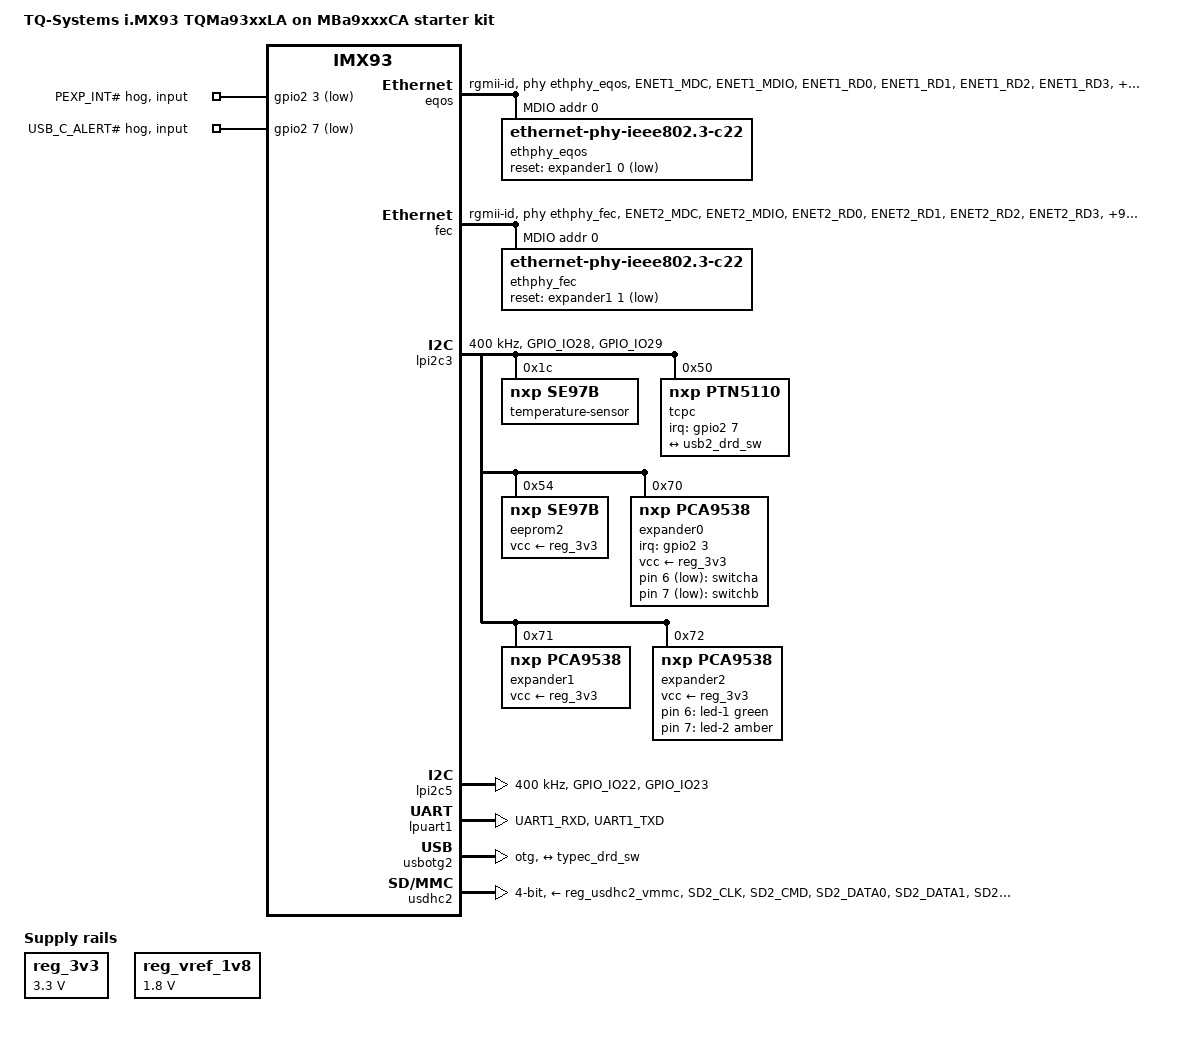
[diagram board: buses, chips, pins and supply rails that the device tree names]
// SPDX-License-Identifier: (GPL-2.0-or-later OR MIT)
/*
 * Copyright (c) 2022 TQ-Systems GmbH <linux@ew.tq-group.com>,
 * D-82229 Seefeld, Germany.
 * Author: Markus Niebel
 */
/dts-v1/;

#include "imx93-tqma93xxla.dtsi"
#include <dt-bindings/input/input.h>
#include <dt-bindings/leds/common.h>
#include <dt-bindings/net/ti-dp83867.h>
#include <dt-bindings/usb/pd.h>

/{
	model = "TQ-Systems i.MX93 TQMa93xxLA on MBa9xxxCA starter kit";
	compatible = "tq,imx93-tqma9352la-mba9xxxca", "tq,imx93-tqma93xxla", "fsl,imx93";

	chosen {
		stdout-path = &lpuart1;
	};

	aliases {
		eeprom0 = &eeprom0;
		rtc0 = &pcf85063;
		rtc1 = &bbnsm_rtc;
	};

	gpio-keys {
		compatible = "gpio-keys";
		autorepeat;

		switch-a {
			label = "switcha";
			linux,code = <BTN_0>;
			gpios = <&expander0 6 GPIO_ACTIVE_LOW>;
			wakeup-source;
		};

		switch-b {
			label = "switchb";
			linux,code = <BTN_1>;
			gpios = <&expander0 7 GPIO_ACTIVE_LOW>;
			wakeup-source;
		};
	};

	gpio-leds {
		compatible = "gpio-leds";

		led-1 {
			color = <LED_COLOR_ID_GREEN>;
			function = LED_FUNCTION_STATUS;
			gpios = <&expander2 6 GPIO_ACTIVE_HIGH>;
			linux,default-trigger = "default-on";
		};

		led-2 {
			color = <LED_COLOR_ID_AMBER>;
			function = LED_FUNCTION_HEARTBEAT;
			gpios = <&expander2 7 GPIO_ACTIVE_HIGH>;
			linux,default-trigger = "heartbeat";
		};
	};

	reg_3v3: regulator-3v3 {
		compatible = "regulator-fixed";
		regulator-name = "V_3V3";
		regulator-min-microvolt = <3300000>;
		regulator-max-microvolt = <3300000>;
	};

	reg_vref_1v8: regulator-adc-vref {
		compatible = "regulator-fixed";
		regulator-name = "vref_1v8";
		regulator-min-microvolt = <1800000>;
		regulator-max-microvolt = <1800000>;
	};
};

&eqos {
	pinctrl-names = "default";
	pinctrl-0 = <&pinctrl_eqos>, <&pinctrl_eqos_phy>;
	phy-mode = "rgmii-id";
	phy-handle = <&ethphy_eqos>;
	status = "okay";

	mdio {
		compatible = "snps,dwmac-mdio";
		#address-cells = <1>;
		#size-cells = <0>;

		ethphy_eqos: ethernet-phy@0 {
			compatible = "ethernet-phy-ieee802.3-c22";
			reg = <0>;
			reset-gpios = <&expander1 0 GPIO_ACTIVE_LOW>;
			reset-assert-us = <500000>;
			reset-deassert-us = <50000>;
			ti,rx-internal-delay = <DP83867_RGMIIDCTL_2_25_NS>;
			ti,tx-internal-delay = <DP83867_RGMIIDCTL_2_25_NS>;
			ti,fifo-depth = <DP83867_PHYCR_FIFO_DEPTH_4_B_NIB>;
			ti,dp83867-rxctrl-strap-quirk;
			ti,clk-output-sel = <DP83867_CLK_O_SEL_OFF>;
			enet-phy-lane-no-swap;
			/* LED0: Link, LED2: activity */
			ti,led-function = <0x0100>;
			/* LED0/2: active High, driven by phy function */
			ti,led-ctrl = <0x1414>;
		};
	};
};

&fec {
	pinctrl-names = "default";
	pinctrl-0 = <&pinctrl_fec>, <&pinctrl_fec_phy>;
	phy-mode = "rgmii-id";
	phy-handle = <&ethphy_fec>;
	fsl,magic-packet;
	status = "okay";

	mdio {
		#address-cells = <1>;
		#size-cells = <0>;
		clock-frequency = <5000000>;

		ethphy_fec: ethernet-phy@0 {
			compatible = "ethernet-phy-ieee802.3-c22";
			reg = <0>;
			reset-gpios = <&expander1 1 GPIO_ACTIVE_LOW>;
			reset-assert-us = <500000>;
			reset-deassert-us = <50000>;
			ti,rx-internal-delay = <DP83867_RGMIIDCTL_2_25_NS>;
			ti,tx-internal-delay = <DP83867_RGMIIDCTL_2_25_NS>;
			ti,fifo-depth = <DP83867_PHYCR_FIFO_DEPTH_4_B_NIB>;
			ti,dp83867-rxctrl-strap-quirk;
			ti,clk-output-sel = <DP83867_CLK_O_SEL_OFF>;
			enet-phy-lane-no-swap;
			/* LED0: Link, LED2: activity */
			ti,led-function = <0x0100>;
			/* LED0/2: active High, driven by phy function */
			ti,led-ctrl = <0x1414>;
		};
	};
};

&gpio2 {
	expander-irq-hog {
		gpio-hog;
		gpios = <3 GPIO_ACTIVE_LOW>;
		input;
		line-name = "PEXP_INT#";
	};

	tcpc-irq-hog {
		gpio-hog;
		gpios = <7 GPIO_ACTIVE_LOW>;
		input;
		line-name = "USB_C_ALERT#";
	};
};

&lpi2c3 {
	#address-cells = <1>;
	#size-cells = <0>;
	clock-frequency = <400000>;
	pinctrl-names = "default", "sleep";
	pinctrl-0 = <&pinctrl_lpi2c3>;
	pinctrl-1 = <&pinctrl_lpi2c3>;
	status = "okay";

	/* NXP SE97BTP with temperature sensor + eeprom */
	temperature-sensor@1c {
		compatible = "nxp,se97b", "jedec,jc-42.4-temp";
		reg = <0x1c>;
	};

	tcpc: ptn5110@50 {
		compatible = "nxp,ptn5110";
		pinctrl-names = "default";
		pinctrl-0 = <&pinctrl_typec>;
		reg = <0x50>;
		interrupt-parent = <&gpio2>;
		interrupts = <7 IRQ_TYPE_EDGE_FALLING>;
		status = "okay";

		port {
			typec_drd_sw: endpoint {
				remote-endpoint = <&usb2_drd_sw>;
			};
		};

		connector {
			compatible = "usb-c-connector";
			label = "USB-C";
			power-role = "dual";
			data-role = "dual";
			try-power-role = "sink";
			source-pdos = <PDO_FIXED(5000, 3000, PDO_FIXED_USB_COMM)>;
			sink-pdos = <PDO_FIXED(5000, 3000, PDO_FIXED_USB_COMM)
				     PDO_VAR(5000, 20000, 3000)>;
			op-sink-microwatt = <15000000>;
			self-powered;
		};
	};

	eeprom2: eeprom@54 {
		compatible = "nxp,se97b", "atmel,24c02";
		reg = <0x54>;
		pagesize = <16>;
		vcc-supply = <&reg_3v3>;
	};

	expander0: gpio@70 {
		compatible = "nxp,pca9538";
		reg = <0x70>;
		pinctrl-names = "default";
		pinctrl-0 = <&pinctrl_pexp_irq>;
		gpio-controller;
		#gpio-cells = <2>;
		interrupt-controller;
		#interrupt-cells = <2>;
		interrupt-parent = <&gpio2>;
		interrupts = <3 IRQ_TYPE_LEVEL_LOW>;
		vcc-supply = <&reg_3v3>;
	};

	expander1: gpio@71 {
		compatible = "nxp,pca9538";
		reg = <0x71>;
		gpio-controller;
		#gpio-cells = <2>;
		vcc-supply = <&reg_3v3>;
	};

	expander2: gpio@72 {
		compatible = "nxp,pca9538";
		reg = <0x72>;
		gpio-controller;
		#gpio-cells = <2>;
		vcc-supply = <&reg_3v3>;
	};
};

&lpi2c5 {
	#address-cells = <1>;
	#size-cells = <0>;
	clock-frequency = <400000>;
	pinctrl-names = "default", "sleep";
	pinctrl-0 = <&pinctrl_lpi2c5>;
	pinctrl-1 = <&pinctrl_lpi2c5>;
	status = "okay";
};

&lpuart1 { /* console */
	pinctrl-names = "default";
	pinctrl-0 = <&pinctrl_uart1>;
	status = "okay";
};

/* disabled per default, console for M33 */
&lpuart3 {
	pinctrl-names = "default";
	pinctrl-0 = <&pinctrl_uart3>;
	status = "disabled";
};

&lpuart6 {
	pinctrl-names = "default";
	pinctrl-0 = <&pinctrl_uart6>;
	status = "disabled";
};

&lpuart8 {
	pinctrl-names = "default";
	pinctrl-0 = <&pinctrl_uart8>;
	status = "disabled";
};

&usbotg1 {
	dr_mode = "host";
	disable-over-current;
	status = "disabled";
};

&usbotg2 {
	dr_mode = "otg";
	hnp-disable;
	srp-disable;
	adp-disable;
	usb-role-switch;
	disable-over-current;
	status = "okay";

	port {
		usb2_drd_sw: endpoint {
			remote-endpoint = <&typec_drd_sw>;
		};
	};
};

&usdhc2 {
	pinctrl-names = "default", "state_100mhz", "state_200mhz";
	pinctrl-0 = <&pinctrl_usdhc2>, <&pinctrl_usdhc2_gpio>;
	pinctrl-1 = <&pinctrl_usdhc2>, <&pinctrl_usdhc2_gpio>;
	pinctrl-2 = <&pinctrl_usdhc2>, <&pinctrl_usdhc2_gpio>;
	cd-gpios = <&gpio3 00 GPIO_ACTIVE_LOW>;
	vmmc-supply = <&reg_usdhc2_vmmc>;
	bus-width = <4>;
	status = "okay";
	no-sdio;
	no-mmc;
};

&iomuxc {
	pinctrl_eqos: eqosgrp {
		fsl,pins = <
			MX93_PAD_ENET1_MDC__ENET_QOS_MDC		0x57e
			MX93_PAD_ENET1_MDIO__ENET_QOS_MDIO		0x57e
			MX93_PAD_ENET1_RD0__ENET_QOS_RGMII_RD0		0x57e
			MX93_PAD_ENET1_RD1__ENET_QOS_RGMII_RD1		0x57e
			MX93_PAD_ENET1_RD2__ENET_QOS_RGMII_RD2		0x57e
			MX93_PAD_ENET1_RD3__ENET_QOS_RGMII_RD3		0x57e
			MX93_PAD_ENET1_RXC__CCM_ENET_QOS_CLOCK_GENERATE_RX_CLK	0x5fe
			MX93_PAD_ENET1_RX_CTL__ENET_QOS_RGMII_RX_CTL	0x57e
			MX93_PAD_ENET1_TD0__ENET_QOS_RGMII_TD0		0x57e
			MX93_PAD_ENET1_TD1__ENET_QOS_RGMII_TD1		0x57e
			MX93_PAD_ENET1_TD2__ENET_QOS_RGMII_TD2		0x57e
			MX93_PAD_ENET1_TD3__ENET_QOS_RGMII_TD3		0x57e
			MX93_PAD_ENET1_TXC__CCM_ENET_QOS_CLOCK_GENERATE_TX_CLK	0x5fe
			MX93_PAD_ENET1_TX_CTL__ENET_QOS_RGMII_TX_CTL	0x57e
		>;
	};

	pinctrl_eqos_phy: eqosphygrp {
		fsl,pins = <
			MX93_PAD_CCM_CLKO1__GPIO3_IO26		0x1306
		>;
	};

	pinctrl_fec: fecgrp {
		fsl,pins = <
			MX93_PAD_ENET2_MDC__ENET1_MDC			0x57e
			MX93_PAD_ENET2_MDIO__ENET1_MDIO			0x57e
			MX93_PAD_ENET2_RD0__ENET1_RGMII_RD0		0x57e
			MX93_PAD_ENET2_RD1__ENET1_RGMII_RD1		0x57e
			MX93_PAD_ENET2_RD2__ENET1_RGMII_RD2		0x57e
			MX93_PAD_ENET2_RD3__ENET1_RGMII_RD3		0x57e
			MX93_PAD_ENET2_RXC__ENET1_RGMII_RXC		0x5fe
			MX93_PAD_ENET2_RX_CTL__ENET1_RGMII_RX_CTL	0x57e
			MX93_PAD_ENET2_TD0__ENET1_RGMII_TD0		0x57e
			MX93_PAD_ENET2_TD1__ENET1_RGMII_TD1		0x57e
			MX93_PAD_ENET2_TD2__ENET1_RGMII_TD2		0x57e
			MX93_PAD_ENET2_TD3__ENET1_RGMII_TD3		0x57e
			MX93_PAD_ENET2_TXC__ENET1_RGMII_TXC		0x5fe
			MX93_PAD_ENET2_TX_CTL__ENET1_RGMII_TX_CTL	0x57e
		>;
	};

	pinctrl_fec_phy: fecphygrp {
		fsl,pins = <
			MX93_PAD_CCM_CLKO2__GPIO3_IO27		0x1306
		>;
	};

	pinctrl_flexcan1: flexcan1grp {
		fsl,pins = <
			MX93_PAD_PDM_BIT_STREAM0__CAN1_RX	0x139e
			MX93_PAD_PDM_CLK__CAN1_TX		0x139e
		>;
	};

	pinctrl_flexcan2: flexcan2grp {
		fsl,pins = <
			MX93_PAD_GPIO_IO25__CAN2_TX		0x139e
			MX93_PAD_GPIO_IO27__CAN2_RX		0x139e
		>;
	};

	pinctrl_lpi2c3: lpi2c3grp {
		fsl,pins = <
			MX93_PAD_GPIO_IO28__LPI2C3_SDA		0x40000b9e
			MX93_PAD_GPIO_IO29__LPI2C3_SCL		0x40000b9e
		>;
	};

	pinctrl_lpi2c5: lpi2c5grp {
		fsl,pins = <
			MX93_PAD_GPIO_IO22__LPI2C5_SDA		0x40000b9e
			MX93_PAD_GPIO_IO23__LPI2C5_SCL		0x40000b9e
		>;
	};

	pinctrl_pexp_irq: pexpirqgrp {
		fsl,pins = <
			MX93_PAD_GPIO_IO03__GPIO2_IO03		0x1306
		>;
	};

	pinctrl_typec: typecgrp {
		fsl,pins = <
			MX93_PAD_GPIO_IO07__GPIO2_IO07		0x1306
		>;
	};

	pinctrl_uart1: uart1grp {
		fsl,pins = <
			MX93_PAD_UART1_RXD__LPUART1_RX		0x31e
			MX93_PAD_UART1_TXD__LPUART1_TX		0x31e
		>;
	};

	pinctrl_uart3: uart3grp {
		fsl,pins = <
			MX93_PAD_GPIO_IO14__LPUART3_TX		0x31e
			MX93_PAD_GPIO_IO15__LPUART3_RX		0x31e
		>;
	};

	pinctrl_uart6: uart6grp {
		fsl,pins = <
			MX93_PAD_GPIO_IO04__LPUART6_TX		0x31e
			MX93_PAD_GPIO_IO05__LPUART6_RX		0x31e
		>;
	};

	pinctrl_uart8: uart8grp {
		fsl,pins = <
			MX93_PAD_GPIO_IO12__LPUART8_TX		0x31e
			MX93_PAD_GPIO_IO13__LPUART8_RX		0x31e
		>;
	};

	pinctrl_usdhc2_gpio: usdhc2gpiogrp {
		fsl,pins = <
			MX93_PAD_SD2_CD_B__GPIO3_IO00		0x31e
		>;
	};

	pinctrl_usdhc2: usdhc2grp {
		fsl,pins = <
			MX93_PAD_SD2_CLK__USDHC2_CLK		0x17fe
			MX93_PAD_SD2_CMD__USDHC2_CMD		0x13fe
			MX93_PAD_SD2_DATA0__USDHC2_DATA0	0x13fe
			MX93_PAD_SD2_DATA1__USDHC2_DATA1	0x13fe
			MX93_PAD_SD2_DATA2__USDHC2_DATA2	0x13fe
			MX93_PAD_SD2_DATA3__USDHC2_DATA3	0x13fe
			MX93_PAD_SD2_VSELECT__USDHC2_VSELECT	0x51e
		>;
	};
};
